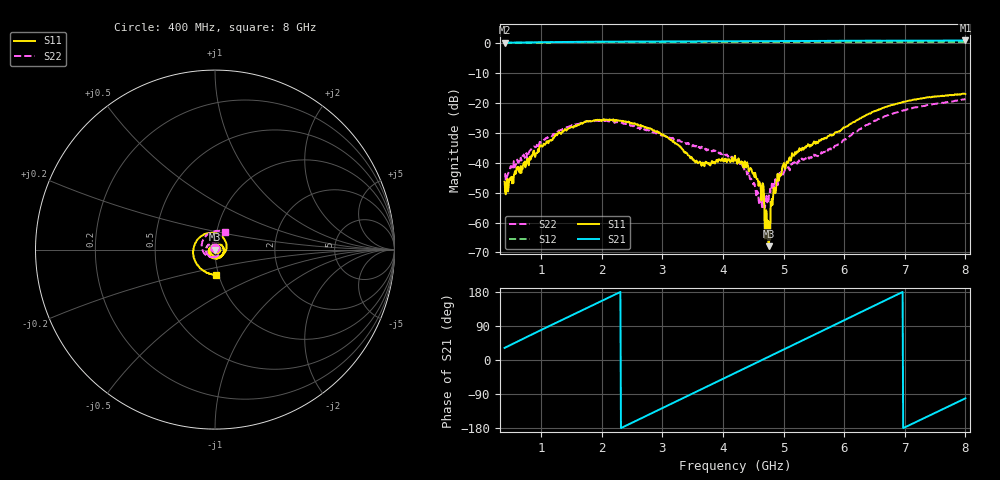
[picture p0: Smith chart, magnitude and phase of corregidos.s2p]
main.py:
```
import numpy as np 

################################        Modules             ################################
#   import and read documents
from app.doc_process.decoder_s2p import decoder_s2p as decode
from app.doc_process.decoder_s2p import params_complex_destructure as fracc

#   export documents
from app.doc_process.doc_out import doc_out

#   graphs
from app.operations.graphs.smith_chart import smith_chart





####################################           Proyecto 2          ##################################

def delta_inverse(array):
    delta = array[0][1]*array[1][0] - array[0][0]*array[1][1]
    return delta

z0=50

y0=1/z0

lines = []

s11 = []
def s_to_t(params):
    delta = delta_inverse(params)
    i11 = 1/params[1][0]
    i12 = -params[1][1]/params[1][0]
    i21 = params[0][0]/params[1][0]
    i22 = delta/params[1][0]
    array_params = (
        str(i11),
        str(i12),
        str(i21),
        str(i22)
    )
    return array_params
    



def converter(route_thru, route_line, route_reflect1, route_reflect2):
    list_thru = decode(route_thru)
    list_line = decode(route_line)
    list_w1 = decode(route_reflect1)

    lines.append(f"!Nueva Lista de parametros corregidos \n")
    # lines.append("# frec param1 param2  param3  param4 \n")
    lines.append("# Hz S RI R 50 \n")

    for i in range(len(list_thru)):
        ### thru
        thru_params = fracc(list_thru[i])
        frecs = thru_params[0]
        array_thru_s = ([[complex(thru_params[1]), complex(thru_params[2])], [complex(thru_params[3]), complex(thru_params[4])]])
        thru_array_np_s = np.array([[complex(thru_params[1]), complex(thru_params[2])], [complex(thru_params[3]), complex(thru_params[4])]]) 
        thru_t =  s_to_t(array_thru_s)
        thru_matriz_t = np.array([[complex(thru_t[0]), complex(thru_t[1])], [complex(thru_t[2]), complex(thru_t[3])]])
        thru_matriz_inverse_t = np.linalg.inv(thru_matriz_t)        #   Calculo de Inversa de Thru

        ###     line
        line_params = fracc(list_line[i])
        array_line_s = ([[complex(line_params[1]), complex(line_params[2])], [complex(line_params[3]), complex(line_params[4])]]) 
        line_t =  s_to_t(array_line_s)
        line_matriz_t = np.array([[complex(line_t[0]), complex(line_t[1])], [complex(line_t[2]), complex(line_t[3])]])

        ###     reflect1
        w1_params = fracc(list_w1[i])
        # array_w1_s = ([[complex(w1_params[1]), complex(w1_params[2])], [complex(w1_params[3]), complex(w1_params[4])]])
        w1_matriz_np_s = np.array([[complex(w1_params[1]), complex(w1_params[2])], [complex(w1_params[3]), complex(w1_params[4])]])  
        # w1_results =  s_to_t(array_w1_s)
        # w1_matriz = np.array([[complex(w1_results[0]), complex(w1_results[1])], [complex(w1_results[2]), complex(w1_results[3])]])


        ###     Operando
        t = line_matriz_t.dot(thru_matriz_inverse_t)
        
        result = np.roots([t[1][0], t[1][1]-t[0][0], -t[0][1]])

        if abs(result[0])>abs(result[1]):
            ac = result[0]
            b = result[1]
        else:
            ac = result[1]
            b = result[0]
        
        ac_inv = 1/ac

        det_thru_s = np.linalg.det(thru_array_np_s)  #  - determinante de S

        d = -det_thru_s

        g = 1/thru_array_np_s[1][0]      

        e = thru_array_np_s[0][0]           

        f = -thru_array_np_s[1][1]           

        phi = ((ac*f)-d)/(ac-e)               

        beta_alpha = (e - b)/(d - (b*f))        

        w1 = w1_matriz_np_s[0][0]

        w2 = w1_matriz_np_s[1][1]

        a1 = np.sqrt(((d -b*f)*(b - w1)*(1 + beta_alpha*w2))/((1 - ac_inv*e)*(phi + w2)*(ac_inv*w1 - 1)))

        a_est=(b-w1)/(w1*ac_inv-1)

        a2 = -a1

        a1_dif=abs(a_est-a1)

        a2_dif=abs(a_est-a2)


        if a2_dif > a1_dif:

            a=a1

        else:

            a=a2

        c = a/ac

        alpha=(d-b*f)/(a-c*e)

        beta = (e-b)/(a-c*e)

        r22_p22 = (g*(ac-e))/(ac-b)

        num1 = (r22_p22*(a-b*c)*(alpha-beta*phi)*(alpha*t[0][1]-beta*t[0][0]+b*beta*t[1][0]-b*alpha*t[1][1]))
        
        den1 =  (c*beta*t[1][1]-c*beta*t[0][1]-a*beta*t[1][0]+a*alpha*t[1][1])

        s11_dut = num1/den1
        
        num2 = r22_p22*(a-b*c)*(alpha-beta*phi)*(c*phi*t[0][1]-c*t[0][0]+a*(t[1][0]-phi*t[1][1]))


        s22_dut = num2/den1

        num3 = r22_p22*(a-b*c)*(alpha-beta*phi)

        s21_dut = num3/den1

        num4_01 = r22_p22*(a-b*c)*(alpha-beta*phi)*(t[0][0])-phi*t[0][1]-b*t[1][0]+b*phi*t[1][1]
        num4_02 = (num4_01/den1)+s11_dut*s22_dut
        s12_dut = num4_02/s21_dut

        line = [s11_dut, s21_dut, s12_dut, s22_dut]
        l = np.array([x for x in line])
        real = [x.real for x in l]
        imag = [x.imag for x in l]


        line = []
        lines.append(frecs + " ")
        for k in range(len(real)):
            lines.append(f"\t")
            lines.append(str(real[k]) + " ")
            lines.append(f"\t")
            lines.append(str(imag[k]) + " ")
            lines.append(f"\t")
        
        lines.append("\n")
    
    doc_out("./output/corregidos.s2p", lines)
    print("Archivo de Correcciones Generado en /output/")

    print("Graficando Archivo Corregido  ...")
    smith_chart("./output/corregidos.s2p")

if __name__ == '__main__':
    # print("Grafica Original de Valores Medidos")
    # smith_chart("./input/ATF38143_VGS_-0.5V_VDS_3.0V.s2p")
    print("Calibrando ...")
    converter("./input/Thru.s2p", "./input/Line.s2p", "./input/Open_P1.s2p", "./input/Open_P2.s2p")
```
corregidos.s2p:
!Nueva Lista de parametros corregidos
# Hz S RI R 50
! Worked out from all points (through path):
!   801 points, 400 MHz to 8 GHz, reference 50 ohm
!   highest |S21| = 0.81 dB at 8 GHz (marker M1); lowest = 0.1 dB at 409.5 MHz (marker M2)
!   lowest |S11| = -67.9 dB at 4.761 GHz (marker M3), VSWR 1.00, Z = 50 - j0.0177 ohm
!   |S11| at or under -10 dB: start of sweep to end of sweep
!   |S22| runs from -55.5 to -18.8 dB; largest |S21 - S12| = 2.1
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4e8  0.00318 0.00359  0.8547 0.5325  0.9926 0.1529  -0.00166 0.00642
4.095e8  0.00217 0.0024  0.8472 0.5436  0.9926 0.1564  -0.003 0.00573
1.312e9  -0.0307 0.00441  -0.2355 1.006  0.9028 0.4793  0.0214 -0.0272
2.319e9  0.0492 -0.00861  -1.05 -0.00578  0.6868 0.7673  -0.0392 0.0252
3.3165e9  -0.0167 0.00573  -0.2317 -1.033  0.3759 0.9587  0.0189 0.0118
4.2e9  0.0106 0.0077  0.8789 -0.6018  0.06 1.03  -0.00816 0.00708
4.7605e9  -0.000362 -0.000177  1.057 0.1659  -0.1469 1.022  -0.00266 -0.00119
5.017e9  0.00802 0.00175  0.9398 0.5156  -0.2405 1.005  -0.00727 -0.000297
6.005e9  -0.000731 -0.0387  -0.2846 1.047  -0.5764 0.8603  0.0201 -0.0139
6.9835e9  -0.0581 0.0864  -1.086 -0.0184  -0.8389 0.6175  -0.0738 0.0137
8e9  0.00283 -0.1397  -0.2122 -1.077  -1.003 0.2886  0.056 0.0988
